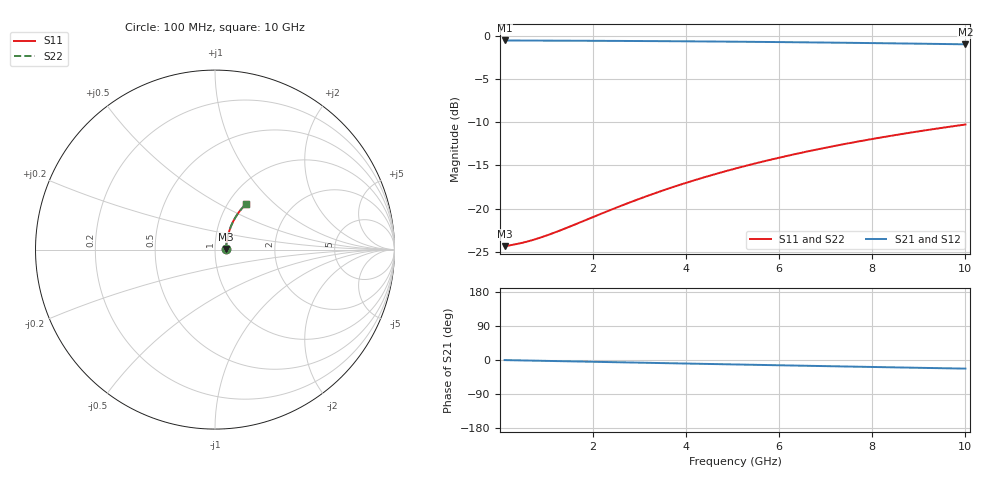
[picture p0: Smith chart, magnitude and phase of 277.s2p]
# Hz S RI R 50.00
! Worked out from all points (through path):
!   100 points, 100 MHz to 10 GHz, reference 50 ohm
!   highest |S21| = -0.54 dB at 100 MHz (marker M1); lowest = -1.0 dB at 10 GHz (marker M2)
!   group delay of S21, straight-line fit = 6.33 ps
!   lowest |S11| = -24.3 dB at 100 MHz (marker M3), VSWR 1.13, Z = 56.5 + j0.333 ohm
!   |S11| at or under -10 dB: start of sweep to end of sweep
!   |S22| runs from -24.3 to -10.3 dB; largest |S21 - S12| = 0
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1e8  0.0606 0.00294  0.9394 -0.00385  0.9394 -0.00385  0.0606 0.00294
3e8  0.0614 0.00881  0.9386 -0.0115  0.9386 -0.0115  0.0614 0.00881
5e8  0.062 0.0147  0.938 -0.0192  0.938 -0.0192  0.062 0.0147
8e8  0.0629 0.0234  0.9371 -0.0307  0.9371 -0.0307  0.0629 0.0234
1e9  0.0635 0.0293  0.9364 -0.0384  0.9364 -0.0384  0.0635 0.0293
1.2e9  0.0642 0.0351  0.9357 -0.046  0.9357 -0.046  0.0642 0.0351
1.8e9  0.0669 0.0524  0.933 -0.0688  0.933 -0.0688  0.0669 0.0524
2.3e9  0.0696 0.0667  0.9301 -0.0877  0.9301 -0.0877  0.0696 0.0667
2.7e9  0.0722 0.0781  0.9275 -0.1027  0.9275 -0.1027  0.0722 0.0781
3.1e9  0.0751 0.0893  0.9244 -0.1176  0.9244 -0.1176  0.0751 0.0893
3.4e9  0.0775 0.0976  0.9219 -0.1287  0.9219 -0.1287  0.0775 0.0976
3.8e9  0.081 0.1086  0.9183 -0.1433  0.9183 -0.1433  0.081 0.1086
4.2e9  0.0849 0.1195  0.9143 -0.1578  0.9143 -0.1578  0.0849 0.1195
4.6e9  0.0891 0.1302  0.91 -0.1722  0.91 -0.1722  0.0891 0.1302
5.1e9  0.0947 0.1433  0.9041 -0.1899  0.9041 -0.1899  0.0947 0.1433
5.5e9  0.0996 0.1536  0.8991 -0.2038  0.8991 -0.2038  0.0996 0.1536
5.9e9  0.1048 0.1637  0.8937 -0.2176  0.8937 -0.2176  0.1048 0.1637
6.7e9  0.116 0.1832  0.882 -0.2444  0.882 -0.2444  0.116 0.1832
7.5e9  0.1283 0.2018  0.8692 -0.2704  0.8692 -0.2704  0.1283 0.2018
8.4e9  0.1433 0.2215  0.8536 -0.2985  0.8536 -0.2985  0.1433 0.2215
9.2e9  0.1576 0.238  0.8386 -0.3223  0.8386 -0.3223  0.1576 0.238
1e10  0.1727 0.2533  0.8228 -0.3451  0.8228 -0.3451  0.1727 0.2533
